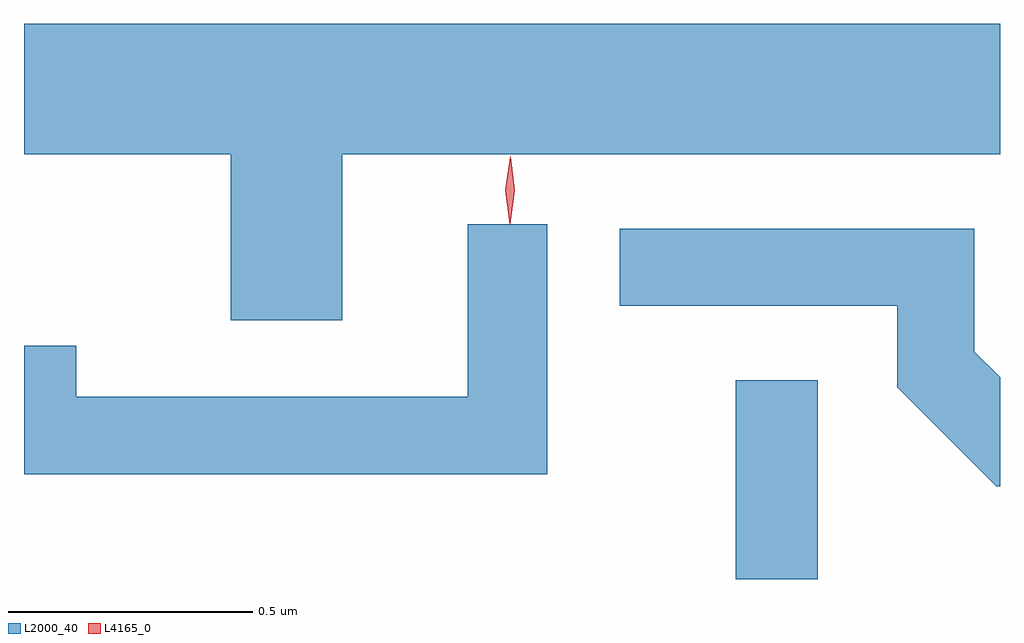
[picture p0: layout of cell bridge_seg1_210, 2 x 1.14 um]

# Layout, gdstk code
import gdstk
lib = gdstk.Library(unit=1e-6, precision=1e-09)
def R(c, l, rs):  # rectangles x0, y0, x1, y1
    for r in rs: c.add(gdstk.rectangle(r[:2], r[2:], *l))
def P(c, l, *ps):  # polygons
    for p in ps: c.add(gdstk.Polygon(p, *l))
L2000_40 = (2000, 40)
L4165_0 = (4165, 0)

bridge_seg1_210 = lib.new_cell('bridge_seg1_210')
R(bridge_seg1_210, L2000_40, [(727.936,940.885,728.104,941.293)])
P(bridge_seg1_210, L2000_40, [(726.477,941.756),(726.901,941.756),(726.901,941.416),(727.129,941.416),(727.129,941.756),(728.477,941.756),(728.477,942.024),(726.477,942.024)],
  [(727.549,941.613),(727.386,941.613),(727.386,941.259),(726.584,941.259),(726.584,941.364),(726.477,941.364),(726.477,941.101),(727.549,941.101)],
  [(728.477,941.299),(728.424,941.352),(728.424,941.604),(727.698,941.604),(727.698,941.446),(728.266,941.446),(728.266,941.279),(728.469,941.076),(728.477,941.076)])
P(bridge_seg1_210, L4165_0, [(727.472,941.616),(727.472,941.617),(727.463,941.682),(727.473,941.746),(727.474,941.747),(727.474,941.746),(727.483,941.682),(727.473,941.617)],
  [(727.472,941.613),(727.472,941.613),(727.463,941.682),(727.473,941.751),(727.473,941.752),(727.474,941.751),(727.483,941.682),(727.473,941.613)])

lib.write_gds('bridge_seg1_210.gds')
